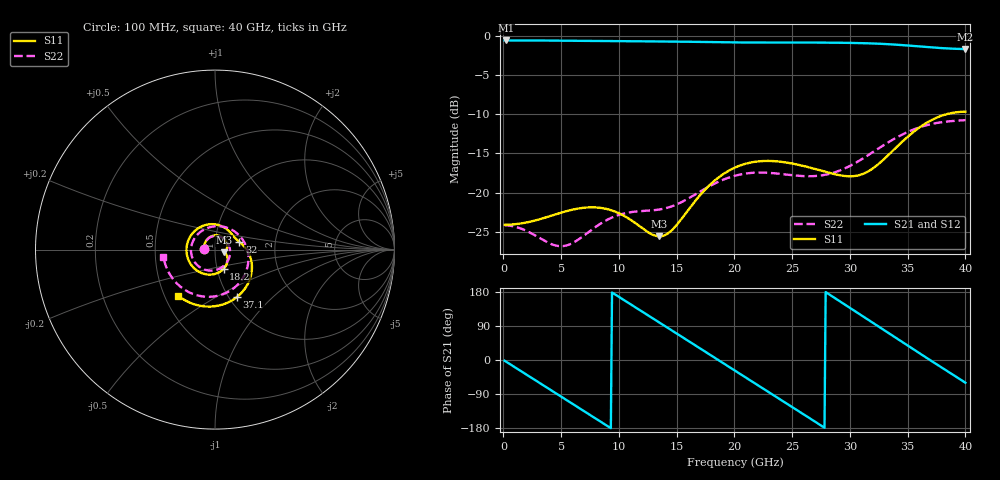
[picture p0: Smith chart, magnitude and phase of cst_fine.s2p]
! X_s8x4_L1L3_bd_d200: L1→L3 back-drilled, drill Ø0.2, L4 plane removed: L3 exits inside the thick L2–L5 pair
! stackup: 8-layer 1.6 mm FR-4 without the L4 plane
! ports: 1, 2
! CST Studio Suite 2025.5 Release from 2025-05-30, time domain (FIT, hexahedral, PBA), 386496 mesh cells, 71 s
! mesh: {'lpw': 30.0, 'lpb': 30.0, 'minstep': 0.0, 'ratio': 20}; ports: port 1 (face); port 2 (face)
! interpolated from CST's 1001 samples to the case grid
# Hz S RI R 50
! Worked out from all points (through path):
!   400 points, 100 MHz to 40 GHz, reference 50 ohm
!   highest |S21| = -0.56 dB at 200 MHz (marker M1); lowest = -1.7 dB at 40 GHz (marker M2)
!   group delay of S21, straight-line fit = 54.1 ps
!   lowest |S11| = -25.6 dB at 13.5 GHz (marker M3), VSWR 1.11, Z = 55.3 - j1.55 ohm
!   |S11| at or under -10 dB: start of sweep to 38.33 GHz
!   |S22| runs from -26.9 to -10.7 dB; largest |S21 - S12| = 0.0044
!   S11 on the Smith chart (normalised r, x): 100 MHz: 0.88, +0.00; 18.2 GHz: 1.07, -0.23; 32 GHz: 1.31, +0.11; 37.1 GHz: 1.09, -0.63; 40 GHz: 0.59, -0.34
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1e8  -0.0622 0.00118  0.9373 -0.0317  0.9378 -0.0317  -0.0618 0.000929
2e8  -0.0622 0.00236  0.9357 -0.0633  0.9362 -0.0634  -0.0617 0.00186
1.8e9  -0.0601 0.0218  0.7696 -0.5357  0.7695 -0.5362  -0.0559 0.0144
3.7e9  -0.05 0.0482  0.2952 -0.889  0.2948 -0.8888  -0.0449 0.0185
5.2e9  -0.0296 0.0691  -0.1733 -0.919  -0.1731 -0.9185  -0.0426 0.0161
6.8e9  0.00705 0.0794  -0.6196 -0.6971  -0.6191 -0.6973  -0.0483 0.0192
8.4e9  0.0469 0.0646  -0.8871 -0.2791  -0.8873 -0.2796  -0.0518 0.0363
9.9e9  0.0672 0.0318  -0.9092 0.1846  -0.9097 0.1848  -0.0385 0.0604
1.34e10  0.0507 -0.0138  -0.1746 0.9078  -0.1741 0.9074  0.0578 0.052
1.35e10  0.0506 -0.014  -0.1438 0.913  -0.1434 0.9126  0.0604 0.0493
1.56e10  0.0643 -0.0293  0.4847 0.7832  0.484 0.783  0.0827 -0.0308
1.82e10  0.0474 -0.1078  0.9062 0.1259  0.9068 0.1265  0.00745 -0.1131
2.01e10  -0.0421 -0.1388  0.7985 -0.4388  0.7989 -0.4396  -0.0768 -0.1029
2.18e10  -0.1305 -0.088  0.4319 -0.8005  0.431 -0.8009  -0.1254 -0.0473
2.34e10  -0.1584 0.0113  -0.0426 -0.9085  -0.043 -0.9075  -0.1316 0.0188
2.67e10  -0.0209 0.1418  -0.8383 -0.3527  -0.838 -0.354  -0.0501 0.117
2.91e10  0.0792 0.1019  -0.8252 0.3761  -0.8266 0.3769  0.0601 0.1243
3.2e10  0.1364 0.0424  -0.1222 0.8887  -0.1202 0.8881  0.1814 -0.00739
3.34e10  0.1758 0.000814  0.3054 0.8328  0.3052 0.8305  0.1744 -0.119
3.53e10  0.2047 -0.1198  0.7351 0.4603  0.7326 0.4614  0.0604 -0.2419
3.71e10  0.1217 -0.2647  0.845 -0.0491  0.8469 -0.0465  -0.1095 -0.2518
4e10  -0.2044 -0.2574  0.414 -0.7148  0.4125 -0.7189  -0.2872 -0.042
